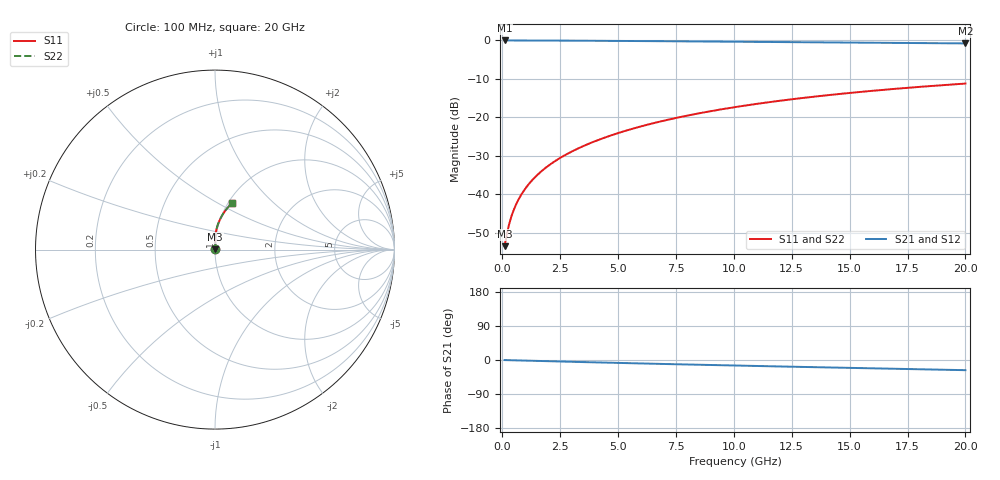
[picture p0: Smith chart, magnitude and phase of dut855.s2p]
! Touchstone file exported from HFSS 2024.1.0
!  File:  C:/UserFiles/LocalFiles/RDL_TSV_Batchsim/temp_RDL_bottom_855_1779864324.aedt
!  Generated:  02:48:19 PM May 27, 2026
!  Design:  RDL_bottom
!  Project:  temp_RDL_bottom_855_1779864324
!  Setup:  Setup1
!  Solution:  Sweep
! Variables:
!  dtsv = 10.80580581um
!  hbump = 3um
!  htsv = 79.72um
!  ldown = 335.77um
!  lrdl = 100um
!  p = 40
!  p1 = 59.19um
!  rhole = 1um
!  t = 450um
!  tdown = 3.16um
!  trdl = 3.915915916um
!  wdown = 26.27um
!  wrdl = 20um
# GHz S MA R 50.000000
! Terminal data exported
! Port[1] = RDL1_T1
! Port[2] = RDL1_T2
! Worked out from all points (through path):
!   200 points, 100 MHz to 20 GHz, reference 50 ohm
!   highest |S21| = -0.01 dB at 100 MHz (marker M1); lowest = -0.8 dB at 20 GHz (marker M2)
!   group delay of S21, straight-line fit = 3.68 ps
!   lowest |S11| = -53.4 dB at 100 MHz (marker M3), VSWR 1.00, Z = 50.2 + j0.129 ohm
!   |S11| at or under -10 dB: start of sweep to end of sweep
!   |S22| runs from -53.4 to -11.2 dB; largest |S21 - S12| = 2.2e-15
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0.1  0.002129 37.2  0.9983 -0.2  0.9983 -0.2  0.002129 37.2
! Gamma 0 0 0 0
! Port Impedance 50 0 50 0
0.2  0.003088 55.0  0.9982 -0.3  0.9982 -0.3  0.003088 55.0
0.3  0.004161 63.6  0.9981 -0.5  0.9981 -0.5  0.004161 63.6
0.4  0.005254 68.7  0.998 -0.7  0.998 -0.7  0.005254 68.7
0.5  0.006354 72.1  0.9978 -0.8  0.9978 -0.8  0.006354 72.1
0.6  0.007461 74.6  0.9977 -1.0  0.9977 -1.0  0.00746 74.6
0.8  0.009698 78.2  0.9975 -1.3  0.9975 -1.3  0.009698 78.2
1.1  0.01311 81.4  0.9971 -1.8  0.9971 -1.8  0.01311 81.4
1.5  0.01776 84.1  0.9964 -2.4  0.9964 -2.4  0.01776 84.1
1.8  0.0213 85.3  0.9958 -2.9  0.9958 -2.9  0.0213 85.4
2.1  0.02491 86.3  0.9951 -3.3  0.9951 -3.3  0.02491 86.3
2.7  0.03227 87.6  0.9935 -4.3  0.9935 -4.3  0.03228 87.6
3.5  0.04245 88.5  0.9908 -5.5  0.9908 -5.5  0.04245 88.5
4.2  0.05168 88.8  0.9882 -6.6  0.9882 -6.6  0.05169 88.8
5  0.06258 88.7  0.9849 -7.7  0.9849 -7.7  0.06258 88.8
5.9  0.07521 88.3  0.9809 -9.0  0.9809 -9.0  0.07522 88.4
6.8  0.08814 87.6  0.9767 -10.3  0.9767 -10.3  0.08816 87.7
8.4  0.1116 85.9  0.9692 -12.4  0.9692 -12.4  0.1116 86.0
10.1  0.1368 83.8  0.9612 -14.7  0.9612 -14.7  0.1368 83.8
13.4  0.1851 79.1  0.9457 -18.8  0.9457 -18.8  0.1851 79.2
16.7  0.2314 74.5  0.93 -22.9  0.93 -22.9  0.2314 74.5
20  0.2751 69.9  0.914 -26.8  0.914 -26.8  0.2751 70.0
